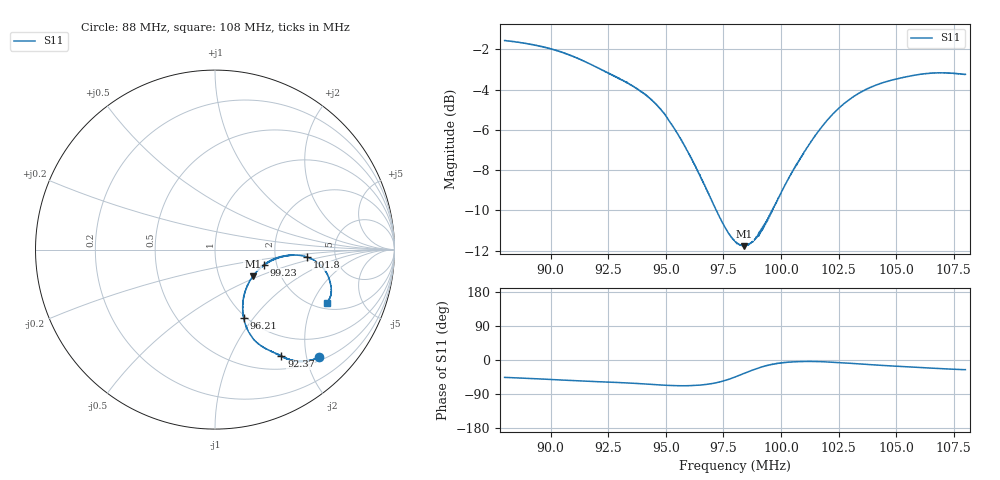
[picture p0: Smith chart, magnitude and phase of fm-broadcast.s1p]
! Calibrated averaged scanner-service zoom
# Hz S RI R 50
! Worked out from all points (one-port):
!   2001 points, 88 MHz to 108 MHz, reference 50 ohm
!   lowest |S11| = -11.8 dB at 98.4 MHz (marker M1), VSWR 1.69, Z = 72.2 - j23.1 ohm
!   |S11| at or under -10 dB: 97.19 MHz to 99.62 MHz (2.425 MHz wide, 2.46 % of centre)
!   S11 on the Smith chart (normalised r, x): 88 MHz: 0.56, -2.24; 92.37 MHz: 0.68, -1.58; 96.21 MHz: 0.97, -0.90; 99.23 MHz: 1.72, -0.31; 101.8 MHz: 3.09, -0.36; 108 MHz: 2.27, -2.56
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8.8e7  0.5815 -0.5998
8.917e7  0.537 -0.616
9.05e7  0.4703 -0.6236
9.132e7  0.4239 -0.6168
9.237e7  0.3699 -0.5936
9.3e7  0.3383 -0.5784
9.394e7  0.2864 -0.5538
9.445e7  0.2528 -0.5332
9.493e7  0.2193 -0.5042
9.55e7  0.1852 -0.4547
9.621e7  0.16 -0.3821
9.663e7  0.1541 -0.3372
9.713e7  0.1563 -0.281
9.761e7  0.1699 -0.2276
9.8e7  0.1876 -0.1871
9.84e7  0.21 -0.149
9.879e7  0.2387 -0.116
9.923e7  0.2737 -0.0833
9.984e7  0.3304 -0.0502
1.005e8  0.3931 -0.0362
1.0116e8  0.4539 -0.0305
1.0185e8  0.5151 -0.043
1.0245e8  0.5596 -0.0639
1.03e8  0.5914 -0.0897
1.0411e8  0.6301 -0.147
1.055e8  0.6469 -0.2106
1.066e8  0.6449 -0.2565
1.08e8  0.6214 -0.2966
